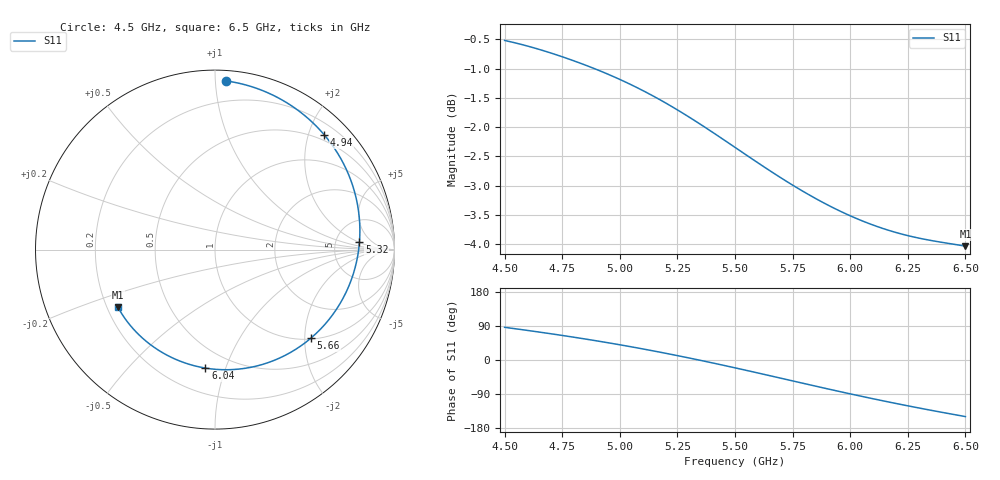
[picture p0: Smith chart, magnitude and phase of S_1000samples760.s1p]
! TOUCHSTONE file generated by CST MICROWAVE STUDIO
! Date and time: Sat Oct 29 07:09:05 2022
! Project name: L.cst
! Parameters = {Di=1.27; Epsilon_r=1.56; InnerDiameter=1.27; Length=2; Lf=10; Lg=60; OuterConductorThickness=0.2921; OuterDiameter=3.6; Wf=3; Wp=41.2; de=1.5; df=6.8; g=0.8; gx=3.33964; gy=2.70133; h=2.34; hf=1.524; px=11.5744; py=10.7273; w=9.7; wx=8.23471; wy=8.02598}
! Header version: 2018
! Port assignment regex: !\s*Touchstone port\s*([0-9]+)\s*=\s*(CST MWS port|CST DS port)\s*([0-9]+|Zmin|Zmax)\s*\(\"(.*)\"\)(\s*mode\s*([0-9]+))?.*
! Touchstone port assignment:
! Touchstone port 1 = CST MWS port 1 ("")
# GHz S DB R 50
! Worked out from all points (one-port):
!   101 points, 4.5 GHz to 6.5 GHz, reference 50 ohm
!   lowest |S11| = -4.0 dB at 6.5 GHz (marker M1), VSWR 4.39, Z = 12.2 - j13 ohm
!   |S11| at or under -10 dB: nowhere
!   S11 on the Smith chart (normalised r, x): 4.5 GHz: 0.06, +1.07; 4.94 GHz: 0.39, +2.28; 5.32 GHz: 8.83, +2.02; 5.66 GHz: 1.03, -2.15; 6.04 GHz: 0.36, -0.85; 6.5 GHz: 0.24, -0.26
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4.5  -0.52 86.2
4.58  -0.60 79.7
4.64  -0.66 74.6
4.76  -0.81 63.9
4.86  -0.96 54.4
4.94  -1.08 46.4
5  -1.19 40.2
5.08  -1.34 31.4
5.14  -1.46 24.6
5.2  -1.59 17.6
5.26  -1.73 10.3
5.32  -1.88 2.9
5.4  -2.08 -7.4
5.44  -2.19 -12.7
5.5  -2.34 -20.7
5.58  -2.56 -31.6
5.66  -2.77 -42.6
5.72  -2.92 -51.0
5.76  -3.01 -56.5
5.82  -3.15 -64.9
5.88  -3.28 -73.1
5.94  -3.40 -81.3
6  -3.51 -89.4
6.04  -3.58 -94.6
6.14  -3.73 -107.4
6.26  -3.86 -122.1
6.38  -3.95 -136.0
6.5  -4.03 -149.3
